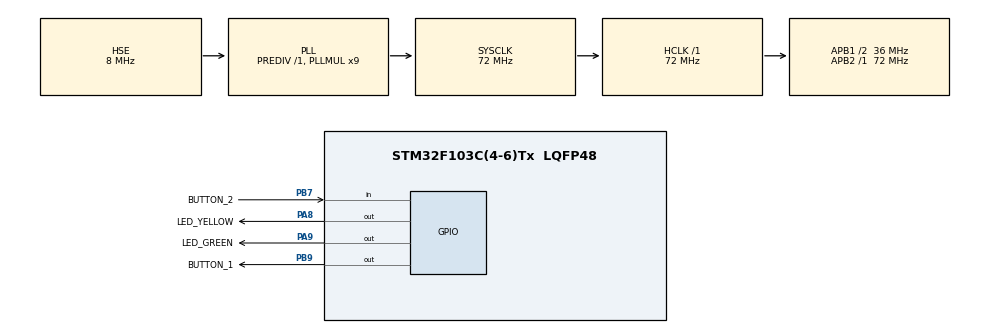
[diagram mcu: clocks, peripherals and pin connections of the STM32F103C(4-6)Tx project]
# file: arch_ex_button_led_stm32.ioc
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Mcu.Family=STM32F1
Mcu.Name=STM32F103C(4-6)Tx
Mcu.Package=LQFP48
NVIC.PriorityGroup=NVIC_PRIORITYGROUP_4
PA8.GPIO_Label=LED_YELLOW
PA8.Signal=GPIO_Output
PA9.GPIO_Label=LED_GREEN
PA9.Signal=GPIO_Output
PB7.GPIO_Label=BUTTON_2
PB7.Signal=GPIO_Input
PB9.GPIO_Label=BUTTON_1
PB9.Signal=GPIO_Output
PD0-OSC_IN.Mode=HSE-External-Oscillator
PD0-OSC_IN.Signal=RCC_OSC_IN
PD1-OSC_OUT.Mode=HSE-External-Oscillator
PD1-OSC_OUT.Signal=RCC_OSC_OUT
ProjectManager.HeapSize=0x200
ProjectManager.StackSize=0x400
ProjectManager.TargetToolchain=STM32CubeIDE
RCC.AHBFreq_Value=72000000
RCC.APB1CLKDivider=RCC_HCLK_DIV2
RCC.APB1Freq_Value=36000000
RCC.APB1TimFreq_Value=72000000
RCC.APB2Freq_Value=72000000
RCC.APB2TimFreq_Value=72000000
RCC.HCLKFreq_Value=72000000
RCC.PLLMUL=RCC_PLL_MUL9
RCC.PLLSourceVirtual=RCC_PLLSOURCE_HSE
RCC.SYSCLKFreq_VALUE=72000000
RCC.SYSCLKSource=RCC_SYSCLKSOURCE_PLLCLK
RCC.USBFreq_Value=72000000
board=custom

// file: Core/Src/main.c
/* USER CODE BEGIN Header */
/**
  ******************************************************************************
  * @file           : main.c
  * @brief          : Main program body
  ******************************************************************************
  * @attention
  *
  * Copyright (c) 2024 STMicroelectronics.
  * All rights reserved.
  *
  * This software is licensed under terms that can be found in the LICENSE file
  * in the root directory of this software component.
  * If no LICENSE file comes with this software, it is provided AS-IS.
  *
  ******************************************************************************
  */
/* USER CODE END Header */
#include "main.h"
#include "hw_map.h"
#include "led.h"
#include "button.h"
//#include "led.h"

void SystemClock_Config(void);

/* USER CODE BEGIN PFP */
void app_init(void);
/* USER CODE END PFP */

/* USER CODE BEGIN 0 */

/* Object leds */
led_t ledGreen;

led_t ledYellow;

/*Object led interface */
led_controller_t ledActions;

/*Object buttons*/
button_t pushButton;

button_t pushButton2;

/* Variables to control app run time*/
bool g_button_pressed = false;
uint32_t g_button_polling_freq = 0;
uint32_t g_update_led_freq = 0;
uint8_t g_pressured_counting = 0;

/* USER CODE END 0 */

int main(void)
{

  /* USER CODE BEGIN SysInit */
  app_init();
  /* USER CODE END SysInit */

  /* Infinite loop */
  while (1)
  {

    /* USER CODE BEGIN 3 */
	g_button_polling_freq++;

	if (g_button_polling_freq == 1000)
	{
		g_button_pressed = button_is_pressed(&pushButton);
		if (g_button_pressed == true) {
			g_pressured_counting++;
		}
		g_button_pressed= button_is_pressed(&pushButton2);
		if (g_button_pressed  == true) {
			ledActions.toggle(&ledYellow);
		}
		g_button_polling_freq = 0;
	}

	g_update_led_freq++;

	if (g_update_led_freq == 500000)
	{
		switch (g_pressured_counting)
		{
			case 1:
				ledActions.turn_on(&ledGreen);
			break;
			case 2:
				ledActions.turn_off(&ledGreen);
			break;
			case 3:
				ledActions.toggle(&ledGreen);
			break;
			case 4:
				ledActions.turn_off(&ledGreen);
				g_pressured_counting = 0;
			break;
			default:
			break;
		}
		g_update_led_freq = 0;
	}
  }
  /* USER CODE END 3 */
}

void SystemClock_Config(void)
{
	  RCC_OscInitTypeDef RCC_OscInitStruct = {0};
	  RCC_ClkInitTypeDef RCC_ClkInitStruct = {0};

	  /** Initializes the RCC Oscillators according to the specified parameters
	  * in the RCC_OscInitTypeDef structure.
	  */
	  RCC_OscInitStruct.OscillatorType = RCC_OSCILLATORTYPE_HSE;
	  RCC_OscInitStruct.HSEState = RCC_HSE_ON;
	  RCC_OscInitStruct.HSEPredivValue = RCC_HSE_PREDIV_DIV1;
	  RCC_OscInitStruct.HSIState = RCC_HSI_ON;
	  RCC_OscInitStruct.PLL.PLLState = RCC_PLL_ON;
	  RCC_OscInitStruct.PLL.PLLSource = RCC_PLLSOURCE_HSE;
	  RCC_OscInitStruct.PLL.PLLMUL = RCC_PLL_MUL9;
	  if (HAL_RCC_OscConfig(&RCC_OscInitStruct) != HAL_OK)
	  {
	    Error_Handler();
	  }

	  /** Initializes the CPU, AHB and APB buses clocks
	  */
	  RCC_ClkInitStruct.ClockType = RCC_CLOCKTYPE_HCLK|RCC_CLOCKTYPE_SYSCLK
	                              |RCC_CLOCKTYPE_PCLK1|RCC_CLOCKTYPE_PCLK2;
	  RCC_ClkInitStruct.SYSCLKSource = RCC_SYSCLKSOURCE_PLLCLK;
	  RCC_ClkInitStruct.AHBCLKDivider = RCC_SYSCLK_DIV1;
	  RCC_ClkInitStruct.APB1CLKDivider = RCC_HCLK_DIV2;
	  RCC_ClkInitStruct.APB2CLKDivider = RCC_HCLK_DIV1;

	  if (HAL_RCC_ClockConfig(&RCC_ClkInitStruct, FLASH_LATENCY_2) != HAL_OK)
	  {
	    Error_Handler();
	  }

  /* GPIO Ports Clock Enable */
  __HAL_RCC_GPIOA_CLK_ENABLE();
  __HAL_RCC_GPIOB_CLK_ENABLE();
  __HAL_RCC_GPIOD_CLK_ENABLE();
}

/* USER CODE BEGIN 4 */
void app_init(void)
{
	  /* MCU Configuration--------------------------------------------------------*/

	  /* Reset of all peripherals, Initializes the Flash interface and the Systick. */
	  HAL_Init();

	  /* Configure the system clock */
	  SystemClock_Config();

	  /* Initialize the leds */
	  ledGreen.led_io.pin = LED_GREEN_PIN;
	  ledGreen.led_io.port = LED_GREEN_PORT;
	  ledGreen.led_state = led_off;
	  led_initialize(&ledGreen);

	  ledYellow.led_io.pin = LED_YELLOW_PIN;
	  ledYellow.led_io.port = LED_YELLOW_PORT;
	  ledYellow.led_state = led_off;
	  led_initialize(&ledYellow);

	  /*Initialize leds interface */
	  led_controller_initialize(&ledActions);

	  /*Initialize buttons*/
	  pushButton.button_io.pin = BUTTON_1_PIN;
	  pushButton.button_io.port = BUTTON_1_PORT;
	  button_initialize(&pushButton);

	  pushButton2.button_io.pin = BUTTON_2_PIN;
	  pushButton2.button_io.port = BUTTON_2_PORT;
	  button_initialize(&pushButton2);
}
/* USER CODE END 4 */

void Error_Handler(void)
{
  __disable_irq();
  while (1)
  {
  }
}
